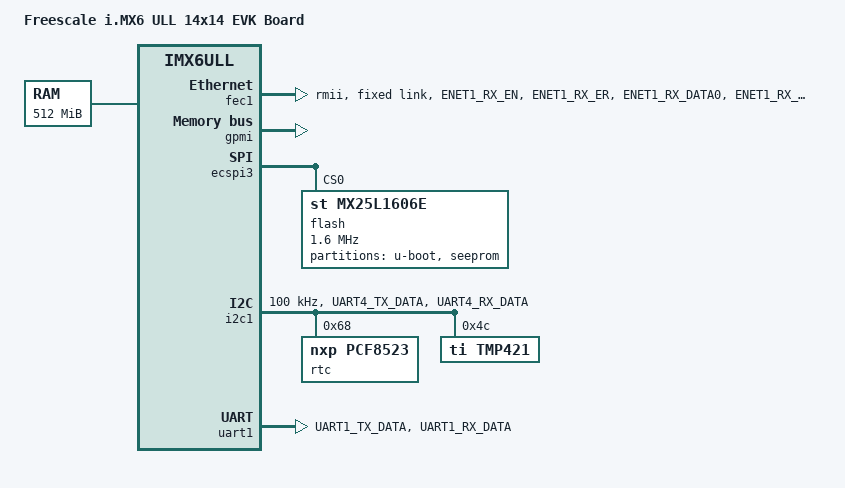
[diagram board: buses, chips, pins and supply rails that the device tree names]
/*
 * Copyright (C) 2016 Freescale Semiconductor, Inc.
 *
 * This program is free software; you can redistribute it and/or modify
 * it under the terms of the GNU General Public License version 2 as
 * published by the Free Software Foundation.
 * Edward K. 
 * 14.11.2017:		The file adapted to Siklu PCB-19x HW boards   ( siklu )
 * 
 */

/dts-v1/;

#include <dt-bindings/input/input.h>
#include "imx6ull.dtsi"

/ {
	model = "Freescale i.MX6 ULL 14x14 EVK Board";
	compatible = "fsl,imx6ull-14x14-evk", "fsl,imx6ull";

	chosen {
		stdout-path = &uart1;
	};

	memory {
		reg = <0x80000000 0x20000000>;
	};

	reserved-memory {
		#address-cells = <1>;
		#size-cells = <1>;
		ranges;

		linux,cma {
			compatible = "shared-dma-pool";
			reusable;
			size = <0x14000000>;
			linux,cma-default;
		};
	};

	pxp_v4l2 {
		compatible = "fsl,imx6ul-pxp-v4l2", "fsl,imx6sx-pxp-v4l2", "fsl,imx6sl-pxp-v4l2";
		status = "okay";
	};

	regulators {
		compatible = "simple-bus";
		#address-cells = <1>;
		#size-cells = <0>;


	};

	
};

&cpu0 {
	/* dc-supply = <&reg_gpio_dvfs>; */
};

&clks {
	assigned-clocks = <&clks IMX6UL_CLK_PLL4_AUDIO_DIV>;
	assigned-clock-rates = <786432000>;
};



&fec1 {
	pinctrl-names = "default";
	pinctrl-0 = <&pinctrl_enet1>;
	phy-mode = "rmii";
	/* Filled in by U-Boot */
	mac-address = [ 00 C0 00 F0 04 03 ];
	/* phy-handle = <&ethphy0>;*/
	status = "okay"; 
		fixed-link { 
		speed = <100>;
		full-duplex;
	};
};



&gpc {
	fsl,cpu_pupscr_sw2iso = <0x1>;
	fsl,cpu_pupscr_sw = <0x0>;
	fsl,cpu_pdnscr_iso2sw = <0x1>;
	fsl,cpu_pdnscr_iso = <0x1>;
	fsl,ldo-bypass = <0>; /* DCDC, ldo-enable */
};


&gpmi {
	status = "okay";
	/* nand-ecc-strength = <8>; 
	nand-ecc-step-size = <512>;
	*/
	/*  ===============  edikk NAND partitions extracted from command line
		partition@0 {
			label = "env_ro";
			reg = <0x0 0x20000>;
		};
		partition@20000 {
			label = "env_var0";
			reg = <0x20000 0x40000>;
		};	
		partition@40000 {
			label = "env_var1";
			reg = <0x40000 0x60000>;
		};
		partition@60000 {
			label = "hdr0";
			reg = <0x60000 0x80000>;
		};
		partition@80000 {
			label = "uimage0";
			reg = <0x80000 0x2880000>;
		};
		partition@2880000 {
			label = "hdr1";
			reg = <0x2880000 0x28a0000>;
		};
		partition@28a0000 {
			label = "uimage1";
			reg = <0x28a0000 0x50a0000>;
		};
		partition@50a0000 {
			label = "conf";
			reg = <0x50a0000 0x60a0000>;
		};
		partition@60a0000 {
			label = "log";
			reg = <0x60a0000 0x8000000>;
		};
	======================   */
};

&ecspi3 {
	status = "okay";
	flash: m25p80@0 {
			compatible = "st,mx25l1606e", "spi-flash";
			reg = <0>; 
			spi-max-frequency = <1600000>;
			mode = <0>;

			partition@0 {
				reg = <0x0 0x200000>;
				label = "u-boot";
				read-only;
			};
			partition@1F0000 { 
				reg = <0x1F0000 0x10000>;
				label = "seeprom"; 
			};
		};
};


&i2c1 {
	clock-frequency = <100000>;
	pinctrl-names = "default";
	pinctrl-0 = <&pinctrl_i2c1>;
	status = "okay";
	
	rtc: pcf8523@68 {
		compatible = "nxp,pcf8523";
		reg = <0x68>;
	};
	tmp421@4c {
		compatible = "ti,tmp421";
		reg = <0x4c>;
	};
};

&iomuxc {
	pinctrl-names = "default";
	pinctrl-0 = <&pinctrl_hog_1>;
	pinctrl_hog_1: hoggrp-1 {
		fsl,pins = <
			MX6UL_PAD_UART1_RTS_B__GPIO1_IO19	0x17059 /* SD1 CD */
			MX6UL_PAD_GPIO1_IO05__USDHC1_VSELECT	0x17059 /* SD1 VSELECT */
			MX6UL_PAD_GPIO1_IO09__GPIO1_IO09        0x17059 /* SD1 RESET */
		>;
	};

	pinctrl_csi1: csi1grp { 
		fsl,pins = <
			MX6UL_PAD_CSI_MCLK__CSI_MCLK		0x1b088
			MX6UL_PAD_CSI_PIXCLK__CSI_PIXCLK	0x1b088
			MX6UL_PAD_CSI_VSYNC__CSI_VSYNC		0x1b088
			MX6UL_PAD_CSI_HSYNC__CSI_HSYNC		0x1b088
			MX6UL_PAD_CSI_DATA00__CSI_DATA02	0x1b088
			MX6UL_PAD_CSI_DATA01__CSI_DATA03	0x1b088
			MX6UL_PAD_CSI_DATA02__CSI_DATA04	0x1b088
			MX6UL_PAD_CSI_DATA03__CSI_DATA05	0x1b088
			MX6UL_PAD_CSI_DATA04__CSI_DATA06	0x1b088
			MX6UL_PAD_CSI_DATA05__CSI_DATA07	0x1b088
			MX6UL_PAD_CSI_DATA06__CSI_DATA08	0x1b088
			MX6UL_PAD_CSI_DATA07__CSI_DATA09	0x1b088
		>;
	};

	pinctrl_enet1: enet1grp {
		fsl,pins = <
			MX6UL_PAD_ENET1_RX_EN__ENET1_RX_EN	0x1b0b0
			MX6UL_PAD_ENET1_RX_ER__ENET1_RX_ER	0x1b0b0
			MX6UL_PAD_ENET1_RX_DATA0__ENET1_RDATA00	0x1b0b0
			MX6UL_PAD_ENET1_RX_DATA1__ENET1_RDATA01	0x1b0b0
			MX6UL_PAD_ENET1_TX_EN__ENET1_TX_EN	0x1b0b0
			MX6UL_PAD_ENET1_TX_DATA0__ENET1_TDATA00	0x1b0b0
			MX6UL_PAD_ENET1_TX_DATA1__ENET1_TDATA01	0x1b0b0
			MX6UL_PAD_ENET1_TX_CLK__ENET1_REF_CLK1	0x4001b031
		>;
	};

	pinctrl_i2c1: i2c1grp {
		fsl,pins = <
			MX6UL_PAD_UART4_TX_DATA__I2C1_SCL 0x4001b8b0
			MX6UL_PAD_UART4_RX_DATA__I2C1_SDA 0x4001b8b0
		>;
	};


	pinctrl_tsc: tscgrp {
		fsl,pins = <
			MX6UL_PAD_GPIO1_IO01__GPIO1_IO01	0xb0
			MX6UL_PAD_GPIO1_IO02__GPIO1_IO02	0xb0
			MX6UL_PAD_GPIO1_IO03__GPIO1_IO03	0xb0
			MX6UL_PAD_GPIO1_IO04__GPIO1_IO04	0xb0
		>;
	};

	pinctrl_uart1: uart1grp {
		fsl,pins = <
			MX6UL_PAD_UART1_TX_DATA__UART1_DCE_TX 0x1b0b1
			MX6UL_PAD_UART1_RX_DATA__UART1_DCE_RX 0x1b0b1
		>;
	};

	pinctrl_uart2dte: uart2dtegrp {
		fsl,pins = <
			MX6UL_PAD_UART2_TX_DATA__UART2_DTE_RX	0x1b0b1
			MX6UL_PAD_UART2_RX_DATA__UART2_DTE_TX	0x1b0b1
			MX6UL_PAD_UART3_RX_DATA__UART2_DTE_CTS	0x1b0b1
			MX6UL_PAD_UART3_TX_DATA__UART2_DTE_RTS	0x1b0b1
		>;
	};

	pinctrl_usb_otg1_id: usbotg1idgrp {
		fsl,pins = <
			MX6UL_PAD_GPIO1_IO00__ANATOP_OTG1_ID	0x17059
		>;
	};


};

&uart1 {
	pinctrl-names = "default";
	pinctrl-0 = <&pinctrl_uart1>;
	status = "okay";
};



